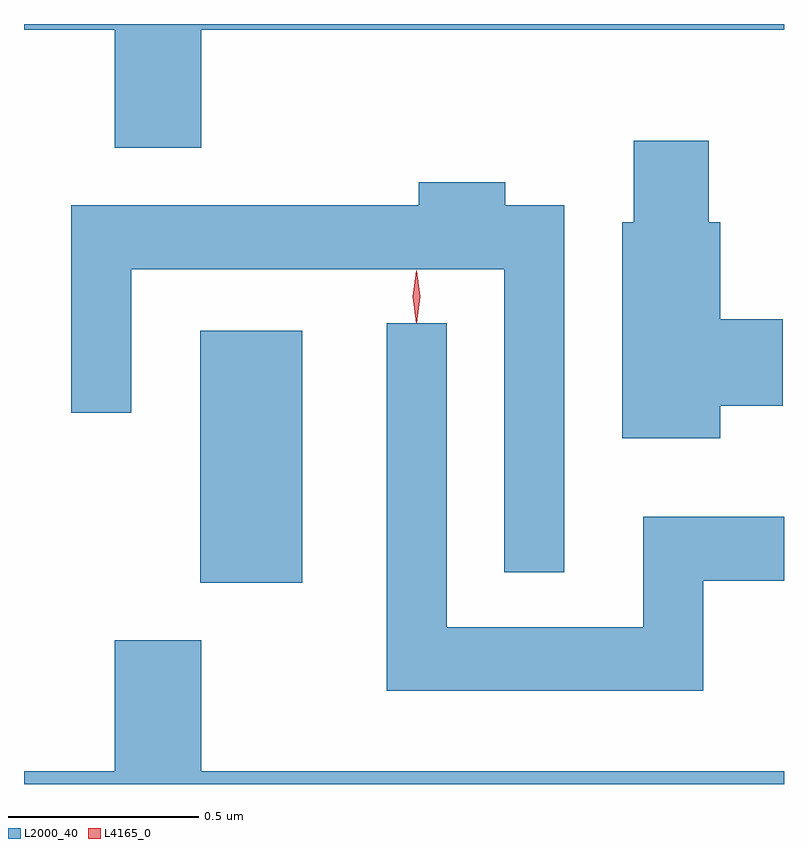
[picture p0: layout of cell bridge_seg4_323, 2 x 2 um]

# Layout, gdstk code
import gdstk
lib = gdstk.Library(unit=1e-6, precision=1e-09)
def R(c, l, rs):  # rectangles x0, y0, x1, y1
    for r in rs: c.add(gdstk.rectangle(r[:2], r[2:], *l))
def P(c, l, *ps):  # polygons
    for p in ps: c.add(gdstk.Polygon(p, *l))
L2000_40 = (2000, 40)
L4165_0 = (4165, 0)

bridge_seg4_323 = lib.new_cell('bridge_seg4_323')
R(bridge_seg4_323, L2000_40, [(524.216,1311.041,524.484,1311.704)])
P(bridge_seg4_323, L2000_40, [(524.219,1312.496),(525.752,1312.496),(525.752,1312.511),(523.752,1312.511),(523.752,1312.496),(523.991,1312.496),(523.991,1312.186),(524.219,1312.186)],
  [(525.584,1311.506),(525.749,1311.506),(525.749,1311.734),(525.584,1311.734),(525.584,1311.989),(525.554,1311.989),(525.554,1312.204),(525.356,1312.204),(525.356,1311.989),(525.326,1311.989),(525.326,1311.421),(525.584,1311.421)],
  [(525.174,1312.034),(525.019,1312.034),(525.019,1312.094),(524.791,1312.094),(524.791,1312.034),(523.876,1312.034),(523.876,1311.488),(524.034,1311.488),(524.034,1311.866),(525.016,1311.866),(525.016,1311.068),(525.174,1311.068)],
  [(525.539,1311.046),(525.752,1311.046),(525.752,1311.214),(525.381,1311.214),(525.381,1310.924),(524.864,1310.924),(524.864,1311.723),(524.706,1311.723),(524.706,1310.756),(525.539,1310.756)],
  [(525.752,1310.544),(524.219,1310.544),(524.219,1310.889),(523.991,1310.889),(523.991,1310.544),(523.752,1310.544),(523.752,1310.511),(525.752,1310.511)])
P(bridge_seg4_323, L4165_0, [(524.784,1311.727),(524.775,1311.794),(524.784,1311.86),(524.785,1311.86),(524.785,1311.86),(524.795,1311.794),(524.785,1311.727),(524.785,1311.727)],
  [(524.784,1311.724),(524.775,1311.793),(524.784,1311.862),(524.785,1311.863),(524.785,1311.862),(524.795,1311.793),(524.785,1311.724),(524.785,1311.724)])

lib.write_gds('bridge_seg4_323.gds')
